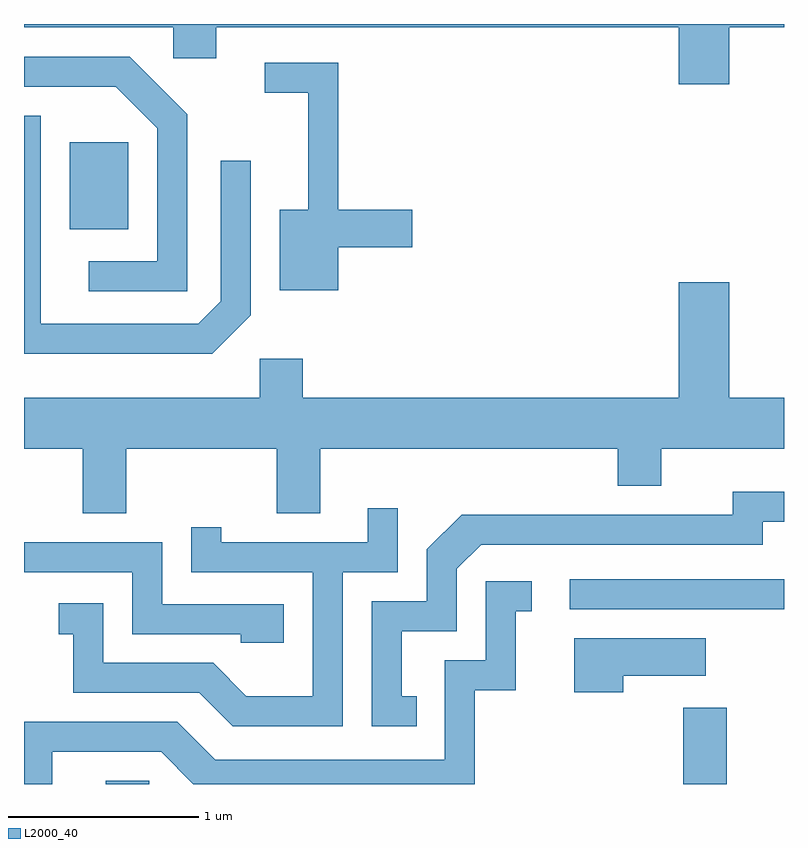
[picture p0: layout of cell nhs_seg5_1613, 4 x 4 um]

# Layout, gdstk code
import gdstk
lib = gdstk.Library(unit=1e-6, precision=1e-09)
def R(c, l, rs):  # rectangles x0, y0, x1, y1
    for r in rs: c.add(gdstk.rectangle(r[:2], r[2:], *l))
def P(c, l, *ps):  # polygons
    for p in ps: c.add(gdstk.Polygon(p, *l))
L2000_40 = (2000, 40)

nhs_seg5_1613 = lib.new_cell('nhs_seg5_1613')
R(nhs_seg5_1613, L2000_40, [(232.041,1526.072,232.269,1526.089), (235.081,1526.072,235.309,1526.474), (234.483,1526.991,235.611,1527.149), (231.851,1528.991,232.159,1529.449)])
P(nhs_seg5_1613, L2000_40, [(231.611,1530.056),(232.396,1530.056),(232.396,1529.891),(232.624,1529.891),(232.624,1530.056),(235.056,1530.056),(235.056,1529.756),(235.324,1529.756),(235.324,1530.056),(235.611,1530.056),(235.611,1530.072),(231.611,1530.072)],
  [(232.469,1529.597),(232.167,1529.899),(231.611,1529.899),(231.611,1529.741),(232.094,1529.741),(232.311,1529.524),(232.311,1528.824),(231.953,1528.824),(231.953,1528.666),(232.469,1528.666)],
  [(233.264,1528.896),(233.654,1528.896),(233.654,1529.094),(233.264,1529.094),(233.264,1529.869),(232.878,1529.869),(232.878,1529.711),(233.106,1529.711),(233.106,1529.094),(232.956,1529.094),(232.956,1528.671),(233.264,1528.671)],
  [(232.804,1528.539),(232.804,1529.353),(232.646,1529.353),(232.646,1528.612),(232.529,1528.494),(231.699,1528.494),(231.699,1529.589),(231.611,1529.589),(231.611,1528.336),(232.602,1528.336)],
  [(232.149,1527.836),(232.941,1527.836),(232.941,1527.496),(233.169,1527.496),(233.169,1527.836),(234.736,1527.836),(234.736,1527.641),(234.964,1527.641),(234.964,1527.836),(235.611,1527.836),(235.611,1528.104),(235.324,1528.104),(235.324,1528.714),(235.056,1528.714),(235.056,1528.104),(233.079,1528.104),(233.079,1528.309),(232.851,1528.309),(232.851,1528.104),(231.611,1528.104),(231.611,1527.836),(231.921,1527.836),(231.921,1527.496),(232.149,1527.496)],
  [(233.678,1526.534),(233.599,1526.534),(233.599,1526.876),(233.889,1526.876),(233.889,1527.204),(234.017,1527.331),(235.499,1527.331),(235.499,1527.451),(235.611,1527.451),(235.611,1527.609),(235.341,1527.609),(235.341,1527.489),(233.914,1527.489),(233.731,1527.307),(233.731,1527.034),(233.441,1527.034),(233.441,1526.376),(233.678,1526.376)],
  [(233.289,1527.186),(233.579,1527.186),(233.579,1527.523),(233.421,1527.523),(233.421,1527.344),(232.649,1527.344),(232.649,1527.423),(232.491,1527.423),(232.491,1527.186),(233.131,1527.186),(233.131,1526.534),(232.782,1526.534),(232.607,1526.709),(232.029,1526.709),(232.029,1527.024),(231.793,1527.024),(231.793,1526.861),(231.871,1526.861),(231.871,1526.551),(232.534,1526.551),(232.709,1526.376),(233.289,1526.376)],
  [(232.979,1527.019),(232.339,1527.019),(232.339,1527.344),(231.611,1527.344),(231.611,1527.186),(232.181,1527.186),(232.181,1526.861),(232.751,1526.861),(232.751,1526.816),(232.979,1526.816)],
  [(231.759,1526.241),(232.334,1526.241),(232.503,1526.072),(233.984,1526.072),(233.984,1526.566),(234.199,1526.566),(234.199,1526.981),(234.283,1526.981),(234.283,1527.139),(234.041,1527.139),(234.041,1526.724),(233.826,1526.724),(233.826,1526.199),(232.617,1526.199),(232.417,1526.399),(231.611,1526.399),(231.611,1526.072),(231.759,1526.072)],
  [(234.764,1526.641),(235.199,1526.641),(235.199,1526.839),(234.506,1526.839),(234.506,1526.556),(234.764,1526.556)])

lib.write_gds('nhs_seg5_1613.gds')
